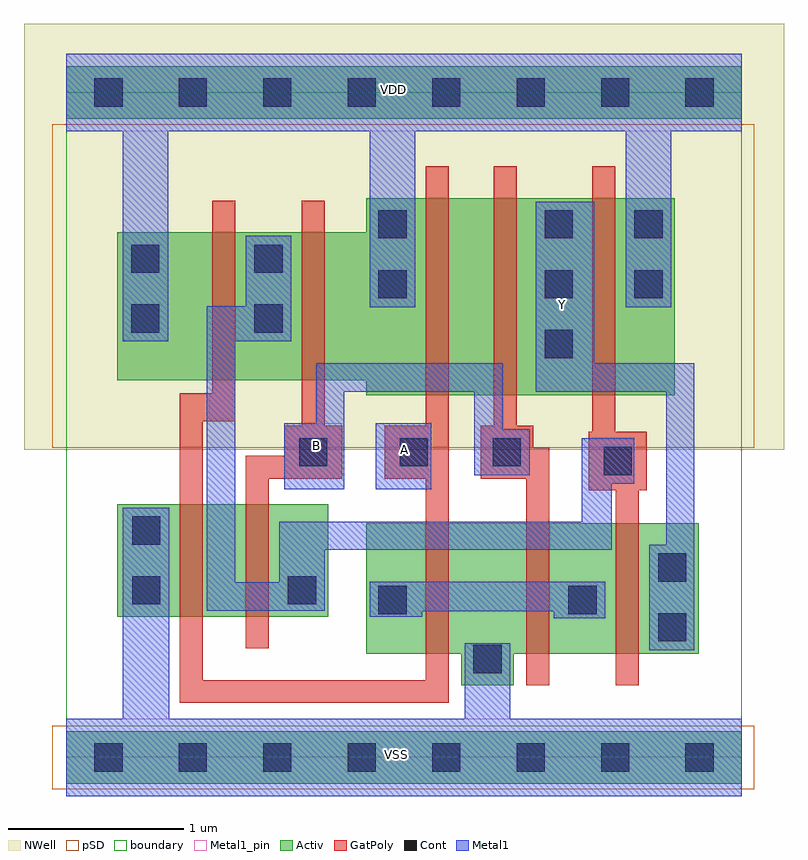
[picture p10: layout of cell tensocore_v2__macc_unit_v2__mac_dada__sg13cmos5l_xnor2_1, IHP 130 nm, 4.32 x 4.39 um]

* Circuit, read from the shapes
.subckt tensocore_v2__macc_unit_v2__mac_dada__sg13cmos5l_xnor2_1 A B VDD VSS Y
XM1 n1 A VSS VSS sg13_lv_nmos w=0.64u l=0.13u
XM2 n2 B n1 VSS sg13_lv_nmos w=0.64u l=0.13u
XM3 VSS A n3 VSS sg13_lv_nmos w=0.74u l=0.13u
XM4 n3 B VSS VSS sg13_lv_nmos w=0.74u l=0.13u
XM5 Y n2 n3 VSS sg13_lv_nmos w=0.74u l=0.13u
XM6 n2 A VDD VDD sg13_lv_pmos w=0.84u l=0.13u
XM7 VDD B n2 VDD sg13_lv_pmos w=0.84u l=0.13u
XM8 n4 A VDD VDD sg13_lv_pmos w=1.12u l=0.13u
XM9 Y B n4 VDD sg13_lv_pmos w=1.12u l=0.13u
XM10 VDD n2 Y VDD sg13_lv_pmos w=1.12u l=0.13u
.ends

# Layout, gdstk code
import gdstk
lib = gdstk.Library(unit=1e-6, precision=1e-09)
def R(c, l, rs):  # rectangles x0, y0, x1, y1
    for r in rs: c.add(gdstk.rectangle(r[:2], r[2:], *l))
def A(c, l, x, y, w, h, nx, ny, dx, dy):  # array of equal rectangles
    R(c, l, [(x+i*dx, y+j*dy, x+i*dx+w, y+j*dy+h) for i in range(nx) for j in range(ny)])
def P(c, l, *ps):  # polygons
    for p in ps: c.add(gdstk.Polygon(p, *l))
Activ = (1, 0)
GatPoly = (5, 0)
Cont = (6, 0)
Metal1 = (8, 0)
Metal1_pin = (8, 2)
pSD = (14, 0)
NWell = (31, 0)
boundary = (189, 4)

tensocore_v2__macc_unit_ = lib.new_cell('tensocore_v2__macc_unit_v2__mac_dada__sg13cmos5l_xnor2_1')
R(tensocore_v2__macc_unit_, Activ, [(0,-0.15,3.84,0.15), (0.29,0.8,1.49,1.44), (0,3.63,3.84,3.93)])
P(tensocore_v2__macc_unit_, Activ, [(2.245,0.41),(2.245,0.59),(1.705,0.59),(1.705,1.33),(3.595,1.33),(3.595,0.59),(2.545,0.59),(2.545,0.41)],
  [(1.705,2.06),(1.705,2.145),(0.29,2.145),(0.29,2.985),(1.705,2.985),(1.705,3.18),(3.46,3.18),(3.46,2.06)])
P(tensocore_v2__macc_unit_, GatPoly, [(1.02,0.62),(1.02,1.715),(1.24,1.715),(1.24,1.885),(1.34,1.885),(1.34,3.165),(1.47,3.165),(1.47,1.885),(1.57,1.885),(1.57,1.585),(1.15,1.585),(1.15,0.62)],
  [(3.125,0.41),(3.125,1.52),(2.97,1.52),(2.97,1.85),(2.99,1.85),(2.99,3.36),(3.12,3.36),(3.12,1.85),(3.3,1.85),(3.3,1.52),(3.255,1.52),(3.255,0.41)],
  [(2.615,0.41),(2.615,1.585),(2.355,1.585),(2.355,1.885),(2.43,1.885),(2.43,3.36),(2.56,3.36),(2.56,1.885),(2.655,1.885),(2.655,1.76),(2.745,1.76),(2.745,0.41)],
  [(0.645,0.31),(0.645,2.07),(0.83,2.07),(0.83,3.165),(0.96,3.165),(0.96,1.91),(0.775,1.91),(0.775,0.44),(2.045,0.44),(2.045,1.585),(1.81,1.585),(1.81,1.885),(2.045,1.885),(2.045,3.36),(2.175,3.36),(2.175,0.31)])
A(tensocore_v2__macc_unit_, Cont, 2.72, 2.27, 0.16, 0.16, 1, 3, 0, 0.34)
R(tensocore_v2__macc_unit_, Cont, [(0.16,-0.08,0.32,0.08), (0.16,-0.08,0.32,0.08), (0.64,-0.08,0.8,0.08), (0.64,-0.08,0.8,0.08), (1.12,-0.08,1.28,0.08), (1.12,-0.08,1.28,0.08), (1.6,-0.08,1.76,0.08), (1.6,-0.08,1.76,0.08), (2.08,-0.08,2.24,0.08), (2.08,-0.08,2.24,0.08), (2.56,-0.08,2.72,0.08), (2.56,-0.08,2.72,0.08), (3.04,-0.08,3.2,0.08), (3.04,-0.08,3.2,0.08), (3.52,-0.08,3.68,0.08), (3.52,-0.08,3.68,0.08), (2.315,0.48,2.475,0.64), (3.365,0.66,3.525,0.82), (1.775,0.815,1.935,0.975), (2.855,0.815,3.015,0.975), (0.375,0.87,0.535,1.03), (1.26,0.87,1.42,1.03), (3.365,1,3.525,1.16), (0.375,1.21,0.535,1.37), (3.055,1.605,3.215,1.765), (1.325,1.655,1.485,1.815), (1.895,1.655,2.055,1.815), (2.425,1.655,2.585,1.815), (0.37,2.415,0.53,2.575), (1.07,2.415,1.23,2.575), (1.775,2.61,1.935,2.77), (3.23,2.61,3.39,2.77), (0.37,2.755,0.53,2.915), (1.07,2.755,1.23,2.915), (1.775,2.95,1.935,3.11), (3.23,2.95,3.39,3.11), (0.16,3.7,0.32,3.86), (0.16,3.7,0.32,3.86), (0.64,3.7,0.8,3.86), (0.64,3.7,0.8,3.86), (1.12,3.7,1.28,3.86), (1.12,3.7,1.28,3.86), (1.6,3.7,1.76,3.86), (1.6,3.7,1.76,3.86), (2.08,3.7,2.24,3.86), (2.08,3.7,2.24,3.86), (2.56,3.7,2.72,3.86), (2.56,3.7,2.72,3.86), (3.04,3.7,3.2,3.86), (3.04,3.7,3.2,3.86), (3.52,3.7,3.68,3.86), (3.52,3.7,3.68,3.86)])
R(tensocore_v2__macc_unit_, Metal1, [(1.76,1.525,2.075,1.9)])
P(tensocore_v2__macc_unit_, Metal1, [(1.24,1.525),(1.24,1.9),(1.42,1.9),(1.42,2.24),(2.48,2.24),(2.48,1.865),(2.635,1.865),(2.635,1.605),(2.32,1.605),(2.32,2.08),(1.58,2.08),(1.58,1.525)],
  [(3.315,0.61),(3.315,1.21),(3.41,1.21),(3.41,2.08),(2.67,2.08),(2.67,3.16),(3,3.16),(3,2.24),(3.57,2.24),(3.57,0.61)],
  [(2.77,0.79),(2.77,0.83),(2.025,0.83),(2.025,0.8),(1.725,0.8),(1.725,1),(3.065,1),(3.065,0.79)],
  [(0.8,0.835),(0.8,2.565),(1.02,2.565),(1.02,2.965),(1.28,2.965),(1.28,2.365),(0.96,2.365),(0.96,0.995),(1.21,0.995),(1.21,1.34),(2.93,1.34),(2.93,1.815),(3.23,1.815),(3.23,1.555),(3.1,1.555),(3.1,1.18),(1.47,1.18),(1.47,0.835)],
  [(0,-0.22),(0,0.22),(0.32,0.22),(0.32,1.42),(0.585,1.42),(0.585,0.22),(2.265,0.22),(2.265,0.65),(2.525,0.65),(2.525,0.22),(3.84,0.22),(3.84,-0.22)],
  [(0.32,2.365),(0.32,3.56),(0,3.56),(0,4),(3.84,4),(3.84,3.56),(3.44,3.56),(3.44,2.56),(3.18,2.56),(3.18,3.56),(1.985,3.56),(1.985,2.56),(1.725,2.56),(1.725,3.56),(0.58,3.56),(0.58,2.365)])
R(tensocore_v2__macc_unit_, Metal1_pin, [(0,-0.22,3.84,0.22), (1.24,1.525,1.58,1.9), (1.76,1.525,2.075,1.9), (2.67,2.08,3,3.16), (0,3.56,3.84,4)])
R(tensocore_v2__macc_unit_, pSD, [(-0.08,-0.18,3.91,0.18), (-0.08,1.76,3.91,3.6)])
R(tensocore_v2__macc_unit_, NWell, [(-0.24,1.75,4.08,4.17)])
R(tensocore_v2__macc_unit_, boundary, [(0,0,3.84,3.78)])
tensocore_v2__macc_unit_.add(gdstk.Label('VSS', (1.88,0.015), layer=8, texttype=25))
tensocore_v2__macc_unit_.add(gdstk.Label('A', (1.92,1.75), layer=8, texttype=25))
tensocore_v2__macc_unit_.add(gdstk.Label('VDD', (1.86,3.795), layer=8, texttype=25))
tensocore_v2__macc_unit_.add(gdstk.Label('B', (1.42,1.775), layer=8, texttype=25))
tensocore_v2__macc_unit_.add(gdstk.Label('Y', (2.82,2.575), layer=8, texttype=25))

lib.write_gds('tensocore_v2__macc_unit_v2__mac_dada__sg13cmos5l_xnor2_1.gds')
